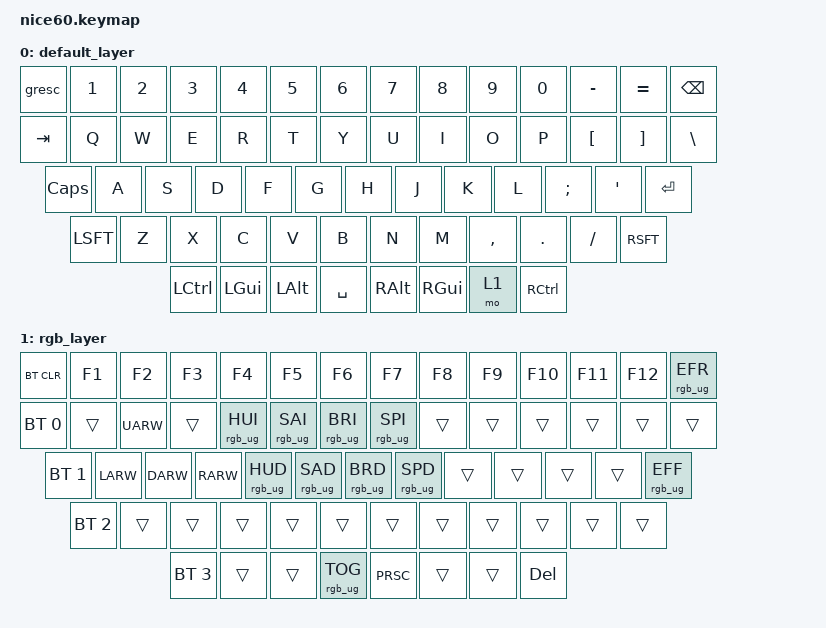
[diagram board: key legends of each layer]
#include <behaviors.dtsi>
#include <dt-bindings/zmk/keys.h>
#include <dt-bindings/zmk/rgb.h>
#include <dt-bindings/zmk/bt.h>

/ {
	keymap {
		compatible = "zmk,keymap";
		
		default_layer {
// ------------------------------------------------------------------------------------------
// | ESC |  1  |  2  |  3  |  4  |  5  |  6  |  7  |  8  |  9  |  0  |  -  |  =  |   BKSP   |
// | TAB  |  Q  |  W  |  E  |  R  |  T  |  Y  |  U  |  I  |  O  |  P  |  [  |  ]  |   "|"   |
// | CAPS  |  A  |  S  |  D  |  F  |  G  |  H  |  J  |  K  |  L  |  ;  |  '  |     ENTER    |
// |  SHIFT  |  Z  |  X  |  C  |  V  |  B  |  N  |  M  |  ,  |  .  |  /  |      SHIFT       |
// |  CTL  |  WIN  |  ALT  |            SPACE              |  ALT  |  WIN  |  MO(1) |  CTL  |
// ------------------------------------------------------------------------------------------
			bindings = <
	&gresc  &kp NUM_1 &kp NUM_2 &kp NUM_3 &kp NUM_4 &kp NUM_5 &kp NUM_6 &kp NUM_7 &kp NUM_8 &kp NUM_9 &kp NUM_0 &kp MINUS &kp EQL  &kp BKSP
	&kp TAB  &kp   Q   &kp   W   &kp   E   &kp   R   &kp   T   &kp   Y   &kp   U   &kp   I   &kp   O   &kp   P   &kp LBKT &kp RBKT &kp BSLH
	&kp CLCK  &kp   A   &kp   S   &kp   D   &kp   F   &kp   G   &kp   H   &kp   J   &kp   K   &kp   L   &kp  SCLN  &kp  QUOT        &kp RET
	&kp LSFT   &kp   Z   &kp   X   &kp   C   &kp   V   &kp   B   &kp   N   &kp   M   &kp   CMMA   &kp   DOT   &kp   FSLH           &kp RSFT
	&kp LCTL &kp   LGUI   &kp   LALT                     &kp SPC                         &kp   RALT    &kp   RGUI     &mo 1      &kp   RCTL
			>;
		};

		rgb_layer {
// ------------------------------------------------------------------------------------------------
// | BT CLR | F1  | F2  | F3  | F4  | F5  | F6  | F7  | F8  | F9  | F10  | F11 | F12 | EFFECT REV |
// |  BT 1   |   |  UP |   | HUEUP | SATUP | BRIUP | SPDUP |   |     |    |     |     |           |
// |   BT 2   | LT |  DN  | RT | HUEDN | SATDN | BRIDN | SPDDN |   |     |   |     |  EFFECT FORW |
// |    BT 3     |     |      |      |     |     |     |     |     |     |     |                  |
// |   BT 4  |      |      |             TOG RGB                | PRT SCR |       |       |  DEL  |
// ------------------------------------------------------------------------------------------------
			bindings = <
	&bt BT_CLR   &kp F1    &kp F2    &kp F3  &kp F4           &kp F5          &kp F6          &kp F7          &kp F8   &kp F9   &kp F10  &kp F11 &kp F12  &rgb_ug RGB_EFR
	&bt BT_SEL 0  &trans    &kp UARW  &trans  &rgb_ug RGB_HUI  &rgb_ug RGB_SAI &rgb_ug RGB_BRI &rgb_ug RGB_SPI &trans   &trans   &trans   &trans  &trans           &trans 
	&bt BT_SEL 1   &kp LARW  &kp DARW  &kp RARW &rgb_ug RGB_HUD &rgb_ug RGB_SAD &rgb_ug RGB_BRD &rgb_ug RGB_SPD &trans   &trans   &trans  &trans          &rgb_ug RGB_EFF
	&bt BT_SEL 2    &trans    &trans    &trans   &trans          &trans          &trans          &trans          &trans   &trans   &trans                          &trans
	&bt BT_SEL 3  &trans   &trans                            &rgb_ug RGB_TOG                                    &kp   PRSC       &trans      &trans             &kp   DEL
			>;
		};
	};
};


